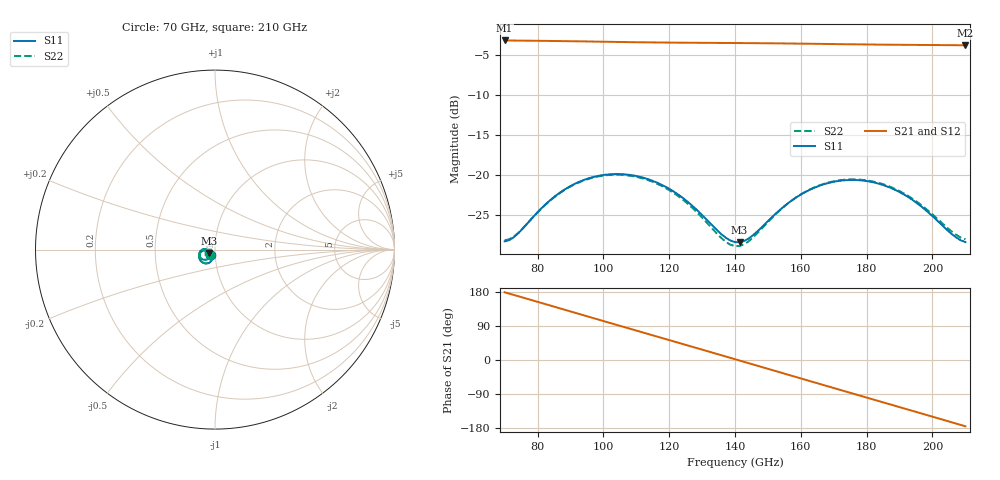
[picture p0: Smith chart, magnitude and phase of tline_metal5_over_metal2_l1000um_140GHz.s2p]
#  GHZ S DB R 50
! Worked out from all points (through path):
!   101 points, 70 GHz to 210 GHz, reference 50 ohm
!   highest |S21| = -3.12 dB at 70 GHz (marker M1); lowest = -3.7 dB at 210 GHz (marker M2)
!   group delay of S21, straight-line fit = 7.02 ps
!   lowest |S11| = -28.4 dB at 141.4 GHz (marker M3), VSWR 1.08, Z = 46.8 - j1.8 ohm
!   |S11| at or under -10 dB: start of sweep to end of sweep
!   |S22| runs from -28.9 to -20.0 dB; largest |S21 - S12| = 7.9e-14
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70  -28.32 -130.0  -3.12 178.7  -3.12 178.7  -28.18 -131.2
74.2  -27.29 -114.5  -3.14 168.2  -3.14 168.2  -27.23 -115.9
81.2  -24.16 -107.7  -3.17 150.5  -3.17 150.5  -24.20 -108.8
86.8  -22.21 -112.4  -3.20 136.3  -3.20 136.3  -22.26 -113.4
93.8  -20.66 -123.1  -3.24 118.6  -3.24 118.6  -20.73 -124.0
99.4  -20.03 -133.2  -3.27 104.4  -3.27 104.4  -20.11 -134.1
105  -19.88 -143.7  -3.31 90.3  -3.31 90.3  -19.97 -144.5
110.6  -20.18 -153.9  -3.34 76.2  -3.34 76.2  -20.28 -154.7
117.6  -21.20 -165.4  -3.38 58.6  -3.38 58.6  -21.34 -166.3
128.8  -24.53 -175.8  -3.41 30.4  -3.41 30.4  -24.82 -176.7
135.8  -27.40 -168.2  -3.43 12.7  -3.43 12.7  -27.88 -168.3
140  -28.41 -154.8  -3.44 2.1  -3.44 2.1  -28.92 -153.4
141.4  -28.43 -149.5  -3.45 -1.4  -3.45 -1.4  -28.90 -147.6
145.6  -27.51 -136.0  -3.46 -12.1  -3.46 -12.1  -27.79 -133.2
152.6  -24.76 -128.0  -3.48 -29.9  -3.48 -29.9  -24.82 -125.6
163.8  -21.65 -137.3  -3.54 -58.2  -3.54 -58.2  -21.60 -135.6
169.4  -20.90 -145.5  -3.57 -72.4  -3.57 -72.4  -20.84 -144.0
175  -20.62 -154.4  -3.60 -86.6  -3.60 -86.6  -20.55 -153.0
180.6  -20.80 -163.3  -3.63 -100.7  -3.63 -100.7  -20.71 -162.0
187.6  -21.66 -173.5  -3.65 -118.3  -3.65 -118.3  -21.55 -172.2
198.8  -24.71 177.5  -3.69 -146.6  -3.69 -146.6  -24.51 178.9
210  -28.41 -162.9  -3.72 -174.9  -3.72 -174.9  -28.06 -162.6
